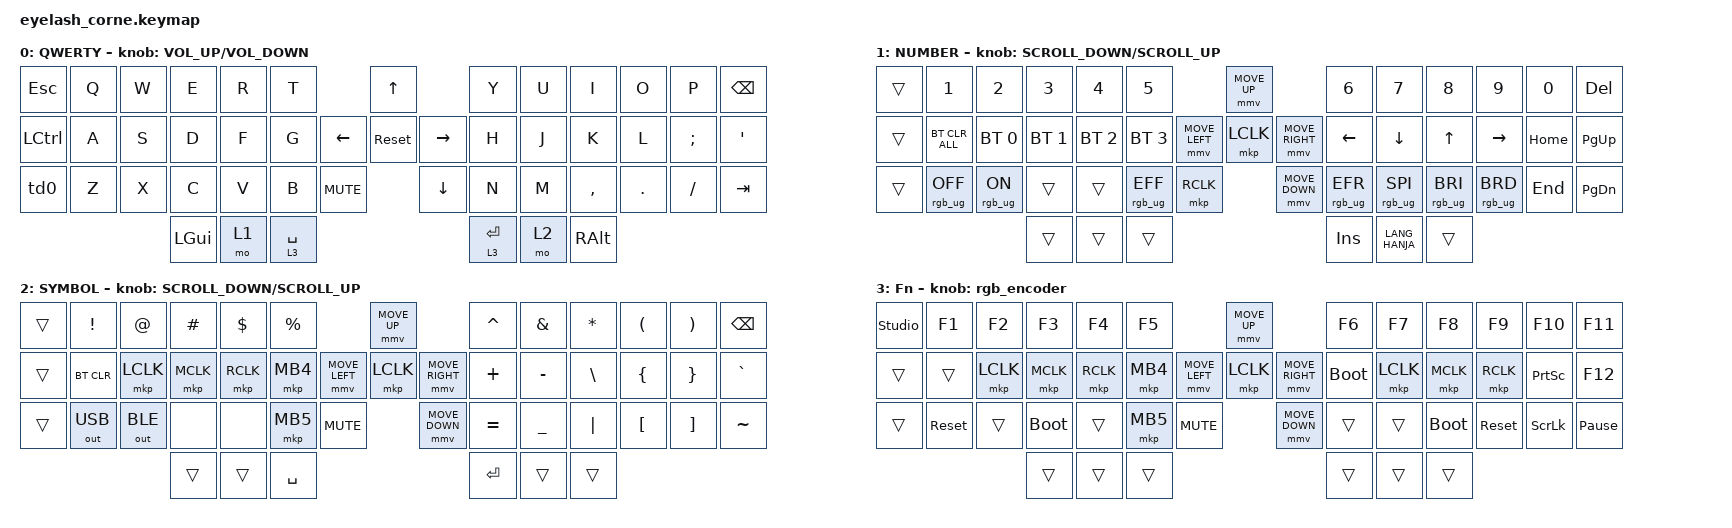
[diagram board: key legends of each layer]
#include <dt-bindings/zmk/mouse.h>
#include <input/processors.dtsi>
#include <behaviors.dtsi>
#include <dt-bindings/zmk/bt.h>
#include <dt-bindings/zmk/keys.h>
#include <dt-bindings/zmk/outputs.h>
#include <dt-bindings/zmk/pointing.h>
#include <dt-bindings/zmk/pointing.h>
#include <dt-bindings/zmk/pointing.h>
#include <dt-bindings/zmk/rgb.h>

/*

   &mmv_input_listener {
       input-processors = <&zip_xy_scaler 2 1>;
   };

   &msc_input_listener {
       input-processors = <&zip_xy_scaler 2 1>;
   };

 */

#define ZMK_MOUSE_DEFAULT_MOVE_VAL 1200  // 600
#define ZMK_MOUSE_DEFAULT_SCRL_VAL 20    // 10

/ {
    behaviors {
        td0: td0 {
            compatible = "zmk,behavior-tap-dance";
            display-name = "Shift/Caps Lock Tap Dance";
            #binding-cells = <0>;
            bindings = <&kp LEFT_SHIFT>, <&kp CAPS>;
        };
    };

    rgb_encoder: rgb_encoder {
        compatible = "zmk,behavior-sensor-rotate";
        #sensor-binding-cells = <0>;
        bindings = <&rgb_ug RGB_BRI>, <&rgb_ug RGB_BRD>;
    };

    scroll_encoder: scroll_encoder {
        compatible = "zmk,behavior-sensor-rotate";
        #sensor-binding-cells = <0>;
        bindings = <&msc SCRL_DOWN>, <&msc SCRL_UP>;

        tap-ms = <30>;
    };

    keymap {
        compatible = "zmk,keymap";

        default_layer {
            display-name = "QWERTY";
            bindings = <
&kp ESC           &kp Q  &kp W  &kp E     &kp R  &kp T                                &kp UP                 &kp Y        &kp U  &kp I      &kp O    &kp P     &kp BSPC
&kp LEFT_CONTROL  &kp A  &kp S  &kp D     &kp F  &kp G                      &kp LEFT  &sys_reset  &kp RIGHT  &kp H        &kp J  &kp K      &kp L    &kp SEMI  &kp SQT
&td0              &kp Z  &kp X  &kp C     &kp V  &kp B        &kp C_MUTE              &kp DOWN               &kp N        &kp M  &kp COMMA  &kp DOT  &kp FSLH  &kp TAB
                                &kp LGUI  &mo 1  &lt 3 SPACE                                                 &lt 3 ENTER  &mo 2  &kp RALT
            >;

            sensor-bindings = <&inc_dec_kp C_VOLUME_UP C_VOLUME_DOWN>;
        };

        lower_layer {
            display-name = "NUMBER";
            bindings = <
&trans  &kp N1           &kp N2          &kp N3        &kp N4        &kp N5                                        &mmv MOVE_UP                     &kp N6           &kp N7           &kp N8           &kp N9           &kp N0    &kp DEL
&trans  &bt BT_CLR_ALL   &bt BT_SEL 0    &bt BT_SEL 1  &bt BT_SEL 2  &bt BT_SEL 3                  &mmv MOVE_LEFT  &mkp LCLK       &mmv MOVE_RIGHT  &kp LEFT         &kp DOWN         &kp UP           &kp RIGHT        &kp HOME  &kp PG_UP
&trans  &rgb_ug RGB_OFF  &rgb_ug RGB_ON  &trans        &trans        &rgb_ug RGB_EFF  &mkp RCLK                    &mmv MOVE_DOWN                   &rgb_ug RGB_EFR  &rgb_ug RGB_SPI  &rgb_ug RGB_BRI  &rgb_ug RGB_BRD  &kp END   &kp PG_DN
                                         &trans        &trans        &trans                                                                         &kp INS          &kp LANG_HANJA   &trans
            >;

            sensor-bindings = <&inc_dec_kp K_SCROLL_DOWN K_SCROLL_UP>;
        };

        raise_layer {
            display-name = "SYMBOL";
            bindings = <
&trans  &kp EXCL      &kp AT        &kp HASH   &kp DLLR   &kp PRCNT                                &mmv MOVE_UP                     &kp CARET  &kp AMPS   &kp ASTRK  &kp LPAR  &kp RPAR  &kp BSPC
&trans  &bt BT_CLR    &mkp LCLK     &mkp MCLK  &mkp RCLK  &mkp MB4                 &mmv MOVE_LEFT  &mkp LCLK       &mmv MOVE_RIGHT  &kp PLUS   &kp MINUS  &kp BSLH   &kp LBRC  &kp RBRC  &kp GRAVE
&trans  &out OUT_USB  &out OUT_BLE  &none      &none      &mkp MB5   &kp K_MUTE                    &mmv MOVE_DOWN                   &kp EQUAL  &kp UNDER  &kp PIPE   &kp LBKT  &kp RBKT  &kp TILDE
                                    &trans     &trans     &kp SPACE                                                                 &kp RET    &trans     &trans
            >;

            sensor-bindings = <&inc_dec_kp K_SCROLL_DOWN K_SCROLL_UP>;
        };

        layer_3 {
            display-name = "Fn";
            bindings = <
&studio_unlock  &kp F1      &kp F2     &kp F3       &kp F4     &kp F5                                  &mmv MOVE_UP                     &kp F6       &kp F7     &kp F8       &kp F9      &kp F10          &kp F11
&trans          &trans      &mkp LCLK  &mkp MCLK    &mkp RCLK  &mkp MB4                &mmv MOVE_LEFT  &mkp LCLK       &mmv MOVE_RIGHT  &bootloader  &mkp LCLK  &mkp MCLK    &mkp RCLK   &kp PRINTSCREEN  &kp F12
&trans          &sys_reset  &trans     &bootloader  &trans     &mkp MB5  &kp K_MUTE                    &mmv MOVE_DOWN                   &trans       &trans     &bootloader  &sys_reset  &kp SCROLLLOCK   &kp PAUSE_BREAK
                                       &trans       &trans     &trans                                                                   &trans       &trans     &trans
            >;

            sensor-bindings = <&rgb_encoder>;
        };
    };
};
